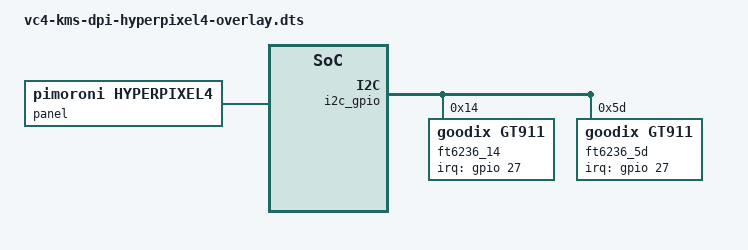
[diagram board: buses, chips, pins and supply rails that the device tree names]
/*
 * vc4-kms-dpi-hyperpixel4sq-overlay.dts
 */

/dts-v1/;
/plugin/;

#include "vc4-kms-dpi-hyperpixel.dtsi"

&panel {
	compatible = "pimoroni,hyperpixel4";
};

/ {
	fragment@11 {
		target = <&i2c_gpio>;
		__overlay__ {
			/* needed to avoid dtc warning */
			#address-cells = <1>;
			#size-cells = <0>;
			ft6236_14: ft6236@14 {
				compatible = "goodix,gt911";
				reg = <0x14>;
				interrupt-parent = <&gpio>;
				interrupts = <27 2>;
				touchscreen-size-x = <480>;
				touchscreen-size-y = <800>;
				touchscreen-x-mm = <51>;
				touchscreen-y-mm = <85>;
				touchscreen-inverted-y;
				touchscreen-swapped-x-y;
			};
			ft6236_5d: ft6236@5d {
				compatible = "goodix,gt911";
				reg = <0x5d>;
				interrupt-parent = <&gpio>;
				interrupts = <27 2>;
				touchscreen-size-x = <480>;
				touchscreen-size-y = <800>;
				touchscreen-x-mm = <51>;
				touchscreen-y-mm = <85>;
				touchscreen-inverted-y;
				touchscreen-swapped-x-y;
			};
		};
	};

	__overrides__ {
		disable-touch = <0>,"-3-11";
		touchscreen-inverted-x = <&ft6236_14>,"touchscreen-inverted-x?",
					 <&ft6236_5d>,"touchscreen-inverted-x?";
		touchscreen-inverted-y = <&ft6236_14>,"touchscreen-inverted-y!",
					 <&ft6236_5d>,"touchscreen-inverted-y!";
		touchscreen-swapped-x-y = <&ft6236_14>,"touchscreen-swapped-x-y!",
					  <&ft6236_5d>,"touchscreen-swapped-x-y!";
	};
};
